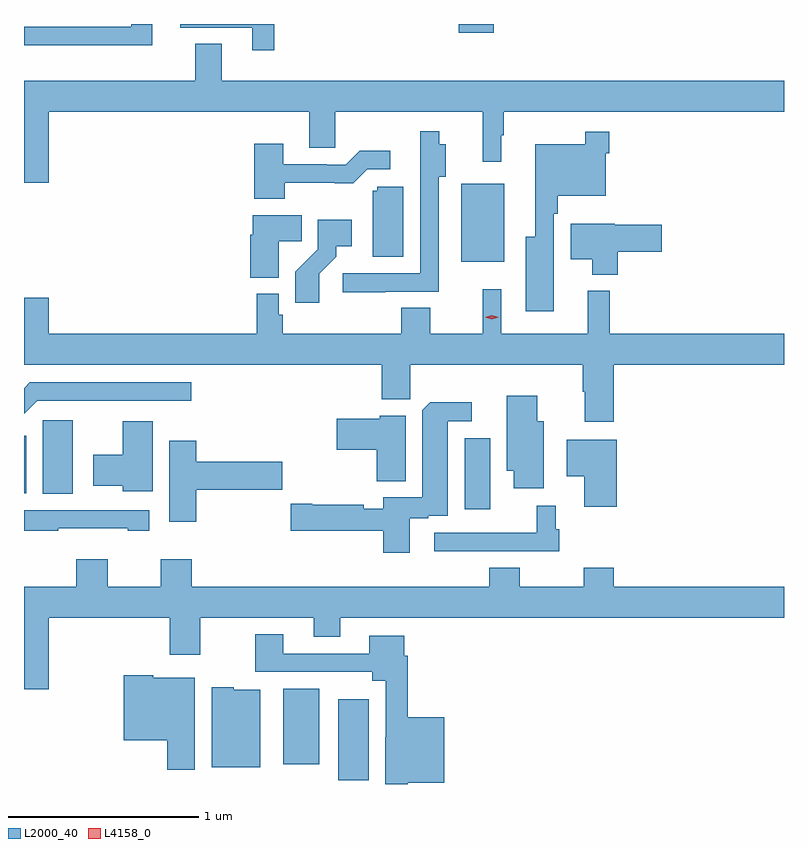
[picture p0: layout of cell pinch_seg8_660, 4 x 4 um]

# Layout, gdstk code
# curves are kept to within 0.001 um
import gdstk
lib = gdstk.Library(unit=1e-6, precision=1e-09)
def R(c, l, rs):  # rectangles x0, y0, x1, y1
    for r in rs: c.add(gdstk.rectangle(r[:2], r[2:], *l))
def P(c, l, *ps):  # polygons
    for p in ps: c.add(gdstk.Polygon(p, *l))
L2000_40 = (2000, 40)
L4158_0 = (4158, 0)

pinch_seg8_660 = lib.new_cell('pinch_seg8_660')
R(pinch_seg8_660, L2000_40, [(250.61,1096.998,250.771,1097.425), (250.322,1097.081,250.51,1097.479), (251.276,1098.423,251.41,1098.799), (249.056,1098.505,249.214,1098.892), (248.957,1098.509,248.968,1098.811), (251.258,1099.727,251.485,1100.137), (251.246,1100.931,251.429,1100.978)])
P(pinch_seg8_660, L2000_40, [(249.631,1100.978),(249.522,1100.978),(249.522,1100.964),(248.957,1100.964),(248.957,1100.867),(249.631,1100.867)],
  [(250.274,1100.978),(249.779,1100.978),(249.779,1100.958),(250.157,1100.958),(250.157,1100.841),(250.274,1100.841)],
  [(249.088,1100.516),(250.457,1100.516),(250.457,1100.326),(250.596,1100.326),(250.596,1100.516),(251.371,1100.516),(251.371,1100.253),(251.47,1100.253),(251.47,1100.393),(251.482,1100.393),(251.482,1100.516),(252.957,1100.516),(252.957,1100.68),(249.997,1100.68),(249.997,1100.873),(249.857,1100.873),(249.857,1100.68),(248.957,1100.68),(248.957,1100.142),(249.088,1100.142)],
  [(250.859,1099.569),(251.139,1099.569),(251.139,1100.174),(251.176,1100.174),(251.176,1100.344),(251.142,1100.344),(251.142,1100.413),(251.042,1100.413),(251.042,1100.19),(251.043,1100.19),(251.043,1099.665),(250.635,1099.665),(250.635,1099.567),(250.859,1099.567)],
  [(251.746,1099.979),(251.765,1099.979),(251.765,1100.075),(252.018,1100.075),(252.018,1100.297),(252.038,1100.297),(252.038,1100.41),(251.91,1100.41),(251.91,1100.344),(251.648,1100.344),(251.648,1099.858),(251.597,1099.858),(251.597,1099.466),(251.746,1099.466)],
  [(250.329,1100.142),(250.691,1100.141),(250.764,1100.214),(250.885,1100.214),(250.885,1100.311),(250.723,1100.311),(250.65,1100.238),(250.55,1100.238),(250.55,1100.241),(250.321,1100.241),(250.321,1100.347),(250.169,1100.347),(250.169,1100.057),(250.329,1100.057)],
  [(250.954,1100.121),(250.815,1100.121),(250.815,1100.1),(250.793,1100.1),(250.793,1099.752),(250.954,1099.752)],
  [(250.297,1099.834),(250.418,1099.834),(250.418,1099.972),(250.16,1099.972),(250.16,1099.868),(250.148,1099.868),(250.148,1099.643),(250.297,1099.643)],
  [(250.51,1099.663),(250.6,1099.753),(250.6,1099.808),(250.681,1099.808),(250.681,1099.948),(250.503,1099.948),(250.503,1099.793),(250.384,1099.674),(250.384,1099.512),(250.51,1099.512)],
  [(252.083,1099.78),(252.313,1099.78),(252.313,1099.922),(252.066,1099.922),(252.066,1099.927),(251.834,1099.927),(251.834,1099.739),(251.948,1099.739),(251.948,1099.658),(252.083,1099.658)],
  [(252.062,1099.184),(252.957,1099.184),(252.957,1099.348),(252.041,1099.348),(252.041,1099.573),(251.924,1099.573),(251.924,1099.348),(251.469,1099.348),(251.469,1099.582),(251.371,1099.582),(251.371,1099.348),(251.095,1099.348),(251.095,1099.484),(250.943,1099.484),(250.943,1099.348),(250.319,1099.348),(250.319,1099.449),(250.299,1099.449),(250.299,1099.558),(250.183,1099.558),(250.183,1099.348),(249.088,1099.348),(249.088,1099.537),(248.957,1099.537),(248.957,1099.184),(250.841,1099.184),(250.841,1099.002),(250.991,1099.002),(250.991,1099.184),(251.897,1099.184),(251.897,1099.043),(251.909,1099.043),(251.909,1098.885),(252.062,1098.885)],
  [(249.027,1098.996),(249.838,1098.996),(249.838,1099.092),(248.988,1099.092),(248.957,1099.061),(248.957,1098.926)],
  [(251.692,1098.886),(251.659,1098.886),(251.659,1099.021),(251.498,1099.021),(251.498,1098.626),(251.534,1098.626),(251.534,1098.534),(251.692,1098.534)],
  [(250.987,1098.378),(251.084,1098.378),(251.084,1098.39),(251.188,1098.39),(251.188,1098.888),(251.314,1098.888),(251.314,1098.986),(251.096,1098.986),(251.054,1098.944),(251.054,1098.486),(250.847,1098.486),(250.847,1098.427),(250.746,1098.427),(250.746,1098.447),(250.474,1098.447),(250.474,1098.452),(250.362,1098.452),(250.362,1098.31),(250.847,1098.31),(250.847,1098.195),(250.987,1098.195)],
  [(250.966,1098.916),(250.83,1098.916),(250.83,1098.901),(250.602,1098.901),(250.602,1098.736),(250.814,1098.736),(250.814,1098.571),(250.966,1098.571)],
  [(249.634,1098.886),(249.476,1098.886),(249.476,1098.712),(249.321,1098.712),(249.321,1098.548),(249.476,1098.548),(249.476,1098.518),(249.634,1098.518)],
  [(252.077,1098.79),(251.813,1098.79),(251.813,1098.599),(251.906,1098.599),(251.906,1098.438),(252.077,1098.438)],
  [(249.863,1098.527),(250.315,1098.527),(250.315,1098.674),(249.863,1098.674),(249.863,1098.784),(249.722,1098.784),(249.722,1098.357),(249.863,1098.357)],
  [(251.774,1098.318),(251.755,1098.318),(251.755,1098.442),(251.656,1098.442),(251.656,1098.3),(251.115,1098.3),(251.115,1098.204),(251.774,1098.204)],
  [(249.137,1098.323),(249.503,1098.323),(249.503,1098.312),(249.616,1098.312),(249.616,1098.42),(248.957,1098.42),(248.957,1098.323),(248.959,1098.323),(248.959,1098.312),(249.137,1098.312)],
  [(249.088,1097.852),(249.725,1097.852),(249.725,1097.658),(249.885,1097.658),(249.885,1097.852),(250.481,1097.852),(250.481,1097.753),(250.621,1097.753),(250.621,1097.852),(252.957,1097.852),(252.957,1098.016),(252.062,1098.016),(252.062,1098.115),(251.902,1098.115),(251.902,1098.016),(251.565,1098.016),(251.565,1098.115),(251.405,1098.115),(251.405,1098.016),(249.841,1098.016),(249.841,1098.16),(249.677,1098.16),(249.677,1098.016),(249.397,1098.016),(249.397,1098.16),(249.233,1098.16),(249.233,1098.016),(248.957,1098.016),(248.957,1097.478),(249.088,1097.478)],
  [(250.976,1096.985),(251.17,1096.985),(251.17,1097.329),(250.976,1097.329),(250.976,1097.654),(250.957,1097.654),(250.957,1097.758),(250.775,1097.758),(250.775,1097.664),(250.321,1097.664),(250.321,1097.767),(250.174,1097.767),(250.174,1097.568),(250.79,1097.568),(250.79,1097.522),(250.86,1097.522),(250.86,1097.225),(250.859,1097.225),(250.859,1096.978),(250.976,1096.978)],
  [(249.856,1097.536),(249.636,1097.536),(249.636,1097.551),(249.482,1097.551),(249.482,1097.207),(249.71,1097.207),(249.71,1097.053),(249.856,1097.053)],
  [(250.201,1097.473),(250.062,1097.473),(250.062,1097.488),(249.944,1097.488),(249.944,1097.066),(250.201,1097.066)])
P(pinch_seg8_660, L4158_0, [(251.42,1099.424),(251.384,1099.434),(251.384,1099.434),(251.384,1099.434),(251.42,1099.444),(251.456,1099.434),(251.456,1099.434),(251.456,1099.434)])

lib.write_gds('pinch_seg8_660.gds')
